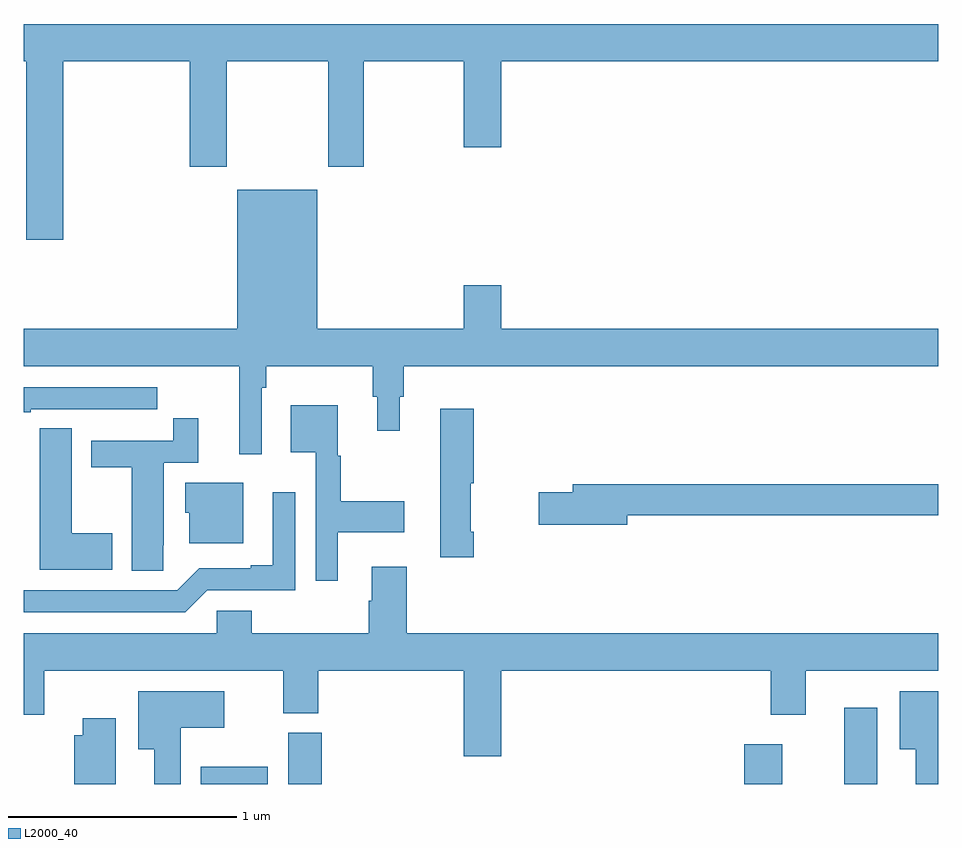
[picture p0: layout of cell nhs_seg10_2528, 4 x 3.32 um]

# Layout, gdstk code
import gdstk
lib = gdstk.Library(unit=1e-6, precision=1e-09)
def R(c, l, rs):  # rectangles x0, y0, x1, y1
    for r in rs: c.add(gdstk.rectangle(r[:2], r[2:], *l))
def P(c, l, *ps):  # polygons
    for p in ps: c.add(gdstk.Polygon(p, *l))
L2000_40 = (2000, 40)

nhs_seg10_2528 = lib.new_cell('nhs_seg10_2528')
R(nhs_seg10_2528, L2000_40, [(247.775,1286.5,248.068,1286.575), (248.156,1286.5,248.303,1286.724), (250.151,1286.5,250.318,1286.674), (250.589,1286.5,250.732,1286.833)])
P(nhs_seg10_2528, L2000_40, [(247.172,1289.66),(247.727,1289.66),(247.727,1289.199),(247.887,1289.199),(247.887,1289.66),(248.332,1289.66),(248.332,1289.199),(248.487,1289.199),(248.487,1289.66),(248.924,1289.66),(248.924,1289.286),(249.088,1289.286),(249.088,1289.66),(251,1289.66),(251,1289.824),(247,1289.824),(247,1289.66),(247.012,1289.66),(247.012,1288.881),(247.172,1288.881)],
  [(248.04,1288.232),(248.06,1288.232),(248.06,1288.328),(248.527,1288.328),(248.527,1288.194),(248.546,1288.194),(248.546,1288.044),(248.644,1288.044),(248.644,1288.194),(248.663,1288.194),(248.663,1288.328),(251,1288.328),(251,1288.492),(249.088,1288.492),(249.088,1288.681),(248.924,1288.681),(248.924,1288.492),(248.284,1288.492),(248.284,1289.098),(247.934,1289.098),(247.934,1288.492),(247,1288.492),(247,1288.328),(247.943,1288.328),(247.943,1287.942),(248.04,1287.942)],
  [(247.03,1288.14),(247.306,1288.14),(247.306,1288.139),(247.472,1288.139),(247.472,1288.14),(247.585,1288.14),(247.585,1288.236),(247,1288.236),(247,1288.125),(247.03,1288.125)],
  [(248.374,1287.602),(248.665,1287.602),(248.665,1287.737),(248.386,1287.737),(248.386,1287.936),(248.374,1287.936),(248.374,1288.156),(248.168,1288.156),(248.168,1287.95),(248.277,1287.95),(248.277,1287.39),(248.374,1287.39)],
  [(248.969,1287.604),(248.956,1287.604),(248.956,1287.816),(248.969,1287.816),(248.969,1288.141),(248.822,1288.141),(248.822,1287.492),(248.969,1287.492)],
  [(247.611,1287.544),(247.612,1287.544),(247.612,1287.906),(247.763,1287.906),(247.763,1288.099),(247.654,1288.099),(247.654,1288.002),(247.295,1288.002),(247.295,1287.886),(247.472,1287.886),(247.472,1287.433),(247.611,1287.433)],
  [(247.387,1287.597),(247.21,1287.597),(247.21,1288.055),(247.071,1288.055),(247.071,1287.947),(247.07,1287.947),(247.07,1287.437),(247.387,1287.437)],
  [(247.96,1287.817),(247.706,1287.817),(247.706,1287.687),(247.724,1287.687),(247.724,1287.554),(247.96,1287.554)],
  [(249.64,1287.676),(251,1287.676),(251,1287.812),(249.401,1287.812),(249.401,1287.776),(249.252,1287.776),(249.252,1287.634),(249.64,1287.634)],
  [(247.803,1287.348),(248.187,1287.348),(248.187,1287.775),(248.09,1287.775),(248.09,1287.457),(247.994,1287.457),(247.994,1287.444),(247.767,1287.444),(247.671,1287.348),(247,1287.348),(247,1287.252),(247.707,1287.252)],
  [(249.088,1286.996),(250.268,1286.996),(250.268,1286.802),(250.42,1286.802),(250.42,1286.996),(251,1286.996),(251,1287.16),(248.675,1287.16),(248.675,1287.451),(248.522,1287.451),(248.522,1287.302),(248.51,1287.302),(248.51,1287.16),(247.997,1287.16),(247.997,1287.258),(247.845,1287.258),(247.845,1287.16),(247,1287.16),(247,1286.802),(247.09,1286.802),(247.09,1286.996),(248.135,1286.996),(248.135,1286.809),(248.288,1286.809),(248.288,1286.996),(248.924,1286.996),(248.924,1286.622),(249.088,1286.622)],
  [(247.687,1286.747),(247.876,1286.747),(247.876,1286.905),(247.502,1286.905),(247.502,1286.651),(247.571,1286.651),(247.571,1286.5),(247.687,1286.5)],
  [(251,1286.905),(250.832,1286.905),(250.832,1286.651),(250.901,1286.651),(250.901,1286.5),(251,1286.5)],
  [(247.402,1286.788),(247.259,1286.788),(247.259,1286.713),(247.22,1286.713),(247.22,1286.5),(247.402,1286.5)])

lib.write_gds('nhs_seg10_2528.gds')
